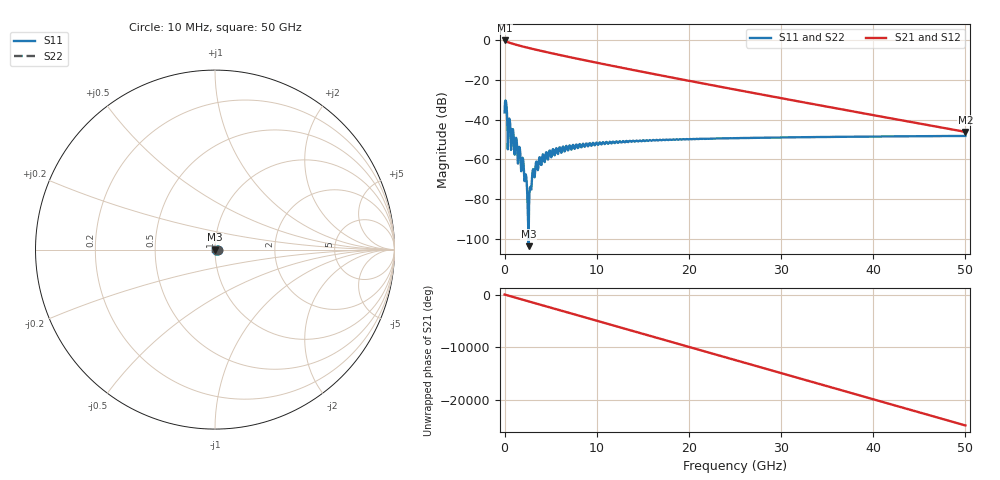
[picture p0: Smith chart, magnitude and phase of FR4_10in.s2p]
! Touchstone v1.0 generado por exportar_touchstone.py
! Linea de transmision dispersiva (skin + dielectrico)
# Hz S RI R 50
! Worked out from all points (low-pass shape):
!   1001 points, 10 MHz to 50 GHz, reference 50 ohm
!   highest |S21| = -0.15 dB at 10 MHz (marker M1); lowest = -46.2 dB at 50 GHz (marker M2)
!   |S21| within 3 dB of the highest: start of sweep to 1.937 GHz
!   lowest |S11| = -103.8 dB at 2.609 GHz (marker M3), VSWR 1.00, Z = 50 + j0.000583 ohm
!   |S11| at or under -10 dB: start of sweep to end of sweep
!   |S22| runs from -103.8 to -30.4 dB; largest |S21 - S12| = 0
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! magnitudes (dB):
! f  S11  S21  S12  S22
! 10 MHz  -36.4  -0.1  -0.1  -36.4
! 359.9 MHz  -55.0  -1.0  -1.0  -55.0
! 559.9 MHz  -40.0  -1.3  -1.3  -40.0
! 709.9 MHz  -55.3  -1.6  -1.6  -55.3
! 909.8 MHz  -44.8  -1.8  -1.8  -44.8
! 1.06 GHz  -56.4  -2.0  -2.0  -56.4
! 1.26 GHz  -49.2  -2.3  -2.3  -49.2
! 1.46 GHz  -62.2  -2.6  -2.6  -62.2
! 1.81 GHz  -66.0  -3.0  -3.0  -66.0
! 2.16 GHz  -71.0  -3.4  -3.4  -71.0
! 2.41 GHz  -71.8  -3.7  -3.7  -71.8
! 2.609 GHz  -103.8  -3.9  -3.9  -103.8
! 2.759 GHz  -74.4  -4.1  -4.1  -74.4
! 3.259 GHz  -69.1  -4.6  -4.6  -69.1
! 4.009 GHz  -62.8  -5.4  -5.4  -62.8
! 5.809 GHz  -57.4  -7.3  -7.3  -57.4
! 8.358 GHz  -54.0  -9.8  -9.8  -54.0
! 16.71 GHz  -50.5  -17.5  -17.5  -50.5
! 25 GHz  -49.4  -24.9  -24.9  -49.4
! 33.35 GHz  -48.9  -32.1  -32.1  -48.9
! 41.7 GHz  -48.5  -39.2  -39.2  -48.5
! 50 GHz  -48.3  -46.2  -46.2  -48.3
